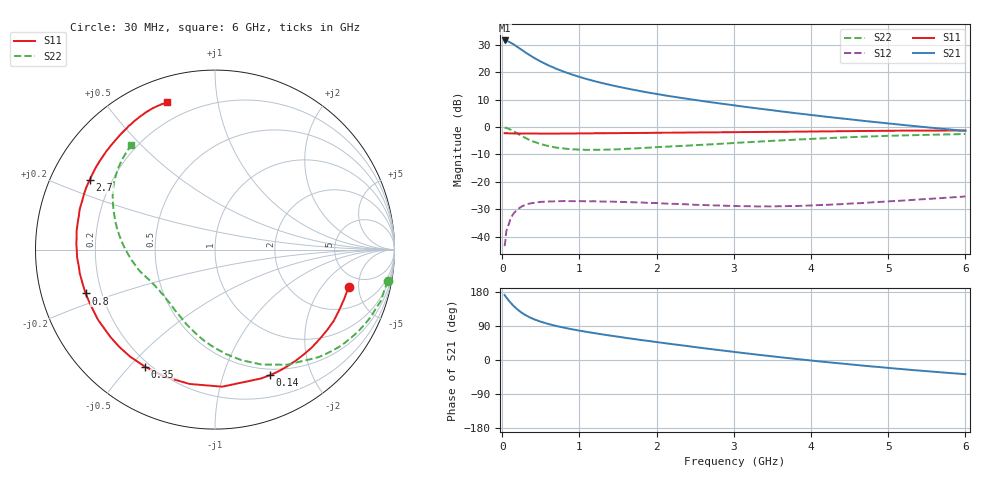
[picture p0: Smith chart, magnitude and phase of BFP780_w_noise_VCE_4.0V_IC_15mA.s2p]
! Infineon Technologies  Discrete & RF Semiconductors
! BFP780
! VCE =  4.0 V,  IC =  15 mA
! Common Emitter S-Parameters:  Jul 2015
# GHz  S  MA  R  50
!  f  S11  S21  S12  S22
! GHz  MAG  ANG  MAG  ANG  MAG  ANG  MAG  ANG
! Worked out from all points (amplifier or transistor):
!   75 points, 30 MHz to 6 GHz, reference 50 ohm
!   highest |S21| = 31.6 dB at 30 MHz (marker M1)
!   |S21| within 3 dB of that: start of sweep to 229.5 MHz
!   unconditionally stable (mu >= 1): 2.452 GHz to end of sweep
!   at 150 MHz: K = 0.07, MSG = 30.8 dB, |S12| = -31.4 dB
!   at 2.3 GHz: K = 0.93, MSG = 19.4 dB, |S12| = -28.1 dB
!   at 6 GHz: K = 1.35, MAG = 8.4 dB, |S12| = -25.3 dB
!   lowest NFmin = 0.87 dB at 450 MHz
!   S11 on the Smith chart (normalised r, x): 30 MHz: 3.71, -3.83; 140 MHz: 0.43, -1.44; 350 MHz: 0.18, -0.55; 800 MHz: 0.14, -0.16; 2.7 GHz: 0.12, +0.26; 6 GHz: 0.11, +0.72
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0.03  0.7726 -15.6  37.99 171.5  0.0067 76.2  0.9783 -10.2
0.06  0.7715 -30.9  37.19 163.2  0.0139 74.7  0.9542 -20.1
0.09  0.767 -45.2  35.71 155.3  0.0177 67.5  0.9198 -29.6
0.12  0.7647 -58.4  33.9 148.3  0.0228 58.0  0.8775 -38.3
0.14  0.7638 -66.4  32.56 144.0  0.0256 55.5  0.8453 -43.8
0.15  0.7626 -70.3  32.02 141.9  0.0268 55.0  0.8305 -46.3
0.2  0.7648 -87.0  28.68 132.8  0.0318 46.0  0.7562 -58.0
0.25  0.7619 -100.7  25.71 124.9  0.0354 39.1  0.6905 -68.0
0.3  0.7618 -111.7  22.97 118.6  0.0382 33.9  0.6332 -76.6
0.35  0.7601 -121.0  20.7 113.1  0.0401 29.4  0.5838 -84.2
0.4  0.7611 -128.5  18.72 108.5  0.0411 25.7  0.5454 -90.5
0.5  0.7593 -140.1  15.62 101.0  0.0431 20.4  0.4875 -101.3
0.6  0.7601 -148.9  13.32 94.9  0.0438 16.0  0.4482 -110.2
0.8  0.7615 -161.3  10.2 85.3  0.0446 10.5  0.405 -123.5
1.1  0.765 -173.6  7.458 74.0  0.0441 5.0  0.3827 -137.7
1.5  0.7736 175.0  5.451 61.5  0.0432 0.9  0.3925 -150.5
2.1  0.7873 162.0  3.794 44.6  0.0402 -2.6  0.4356 -164.0
2.7  0.7984 151.0  2.839 28.9  0.0373 -1.9  0.483 -176.5
3.1  0.8079 144.2  2.383 19.0  0.036 0.8  0.5207 175.3
4.1  0.8306 129.0  1.6 -3.5  0.0376 10.0  0.616 157.1
5.1  0.8564 116.8  1.126 -22.7  0.0448 14.7  0.6968 141.7
6  0.8632 108.1  0.852 -37.5  0.0541 13.5  0.7452 128.8
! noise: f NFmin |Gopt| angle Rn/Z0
0.45  0.87  0.15  114  0.08
0.9  0.93  0.21  148  0.07
1.5  1.06  0.3  165  0.06
1.8  1.28  0.4  -180  0.06
2.4  1.48  0.46  -167  0.08
3  1.85  0.5  -151  0.12
3.5  2.47  0.57  -133  0.22
